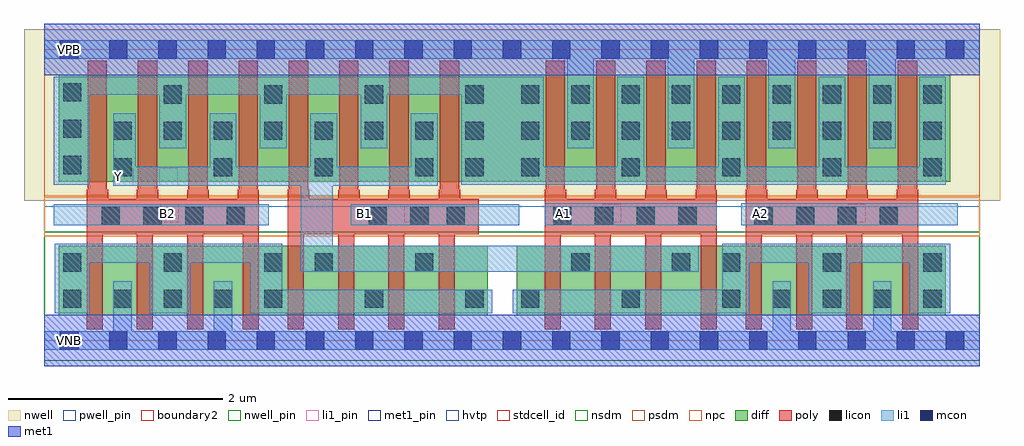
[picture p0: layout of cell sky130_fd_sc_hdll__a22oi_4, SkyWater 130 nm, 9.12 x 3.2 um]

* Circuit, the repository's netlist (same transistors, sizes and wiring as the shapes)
* Copyright 2020 The SkyWater PDK Authors
*
* Licensed under the Apache License, Version 2.0 (the "License");
* you may not use this file except in compliance with the License.
* You may obtain a copy of the License at
*
*     https://www.apache.org/licenses/LICENSE-2.0
*
* Unless required by applicable law or agreed to in writing, software
* distributed under the License is distributed on an "AS IS" BASIS,
* WITHOUT WARRANTIES OR CONDITIONS OF ANY KIND, either express or implied.
* See the License for the specific language governing permissions and
* limitations under the License.
*
* SPDX-License-Identifier: Apache-2.0

.SUBCKT sky130_fd_sc_hdll__a22oi_4 A1 A2 B1 B2 VGND VNB VPB VPWR Y
*.PININFO A1:I A2:I B1:I B2:I VGND:I VNB:I VPB:I VPWR:I Y:O
MMPA0 pndA A1 VPWR VPB sky130_fd_pr__pfet_01v8_hvt m=4 w=1.0U l=0.18U mult=1 sa=0.265
+ sb=0.265 sd=0.28 area=0.063 perim=1.14
MMPA1 pndA A2 VPWR VPB sky130_fd_pr__pfet_01v8_hvt m=4 w=1.0U l=0.18U mult=1 sa=0.265
+ sb=0.265 sd=0.28 area=0.063 perim=1.14
MMPB0 Y B1 pndA VPB sky130_fd_pr__pfet_01v8_hvt m=4 w=1.0U l=0.18U mult=1 sa=0.265
+ sb=0.265 sd=0.28 area=0.063 perim=1.14
MMPB1 Y B2 pndA VPB sky130_fd_pr__pfet_01v8_hvt m=4 w=1.0U l=0.18U mult=1 sa=0.265
+ sb=0.265 sd=0.28 area=0.063 perim=1.14
MMNA0 Y A1 sndA1 VNB sky130_fd_pr__nfet_01v8 m=4 w=0.65U l=0.15U mult=1 sa=0.265
+ sb=0.265 sd=0.28 area=0.063 perim=1.14
MMNA1 sndA1 A2 VGND VNB sky130_fd_pr__nfet_01v8 m=4 w=0.65U l=0.15U mult=1 sa=0.265
+ sb=0.265 sd=0.28 area=0.063 perim=1.14
MMNB0 Y B1 sndB1 VNB sky130_fd_pr__nfet_01v8 m=4 w=0.65U l=0.15U mult=1 sa=0.265
+ sb=0.265 sd=0.28 area=0.063 perim=1.14
MMNB1 sndB1 B2 VGND VNB sky130_fd_pr__nfet_01v8 m=4 w=0.65U l=0.15U mult=1 sa=0.265
+ sb=0.265 sd=0.28 area=0.063 perim=1.14
.ENDS sky130_fd_sc_hdll__a22oi_4

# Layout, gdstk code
import gdstk
lib = gdstk.Library(unit=1e-6, precision=1e-09)
def R(c, l, rs):  # rectangles x0, y0, x1, y1
    for r in rs: c.add(gdstk.rectangle(r[:2], r[2:], *l))
def A(c, l, x, y, w, h, nx, ny, dx, dy):  # array of equal rectangles
    R(c, l, [(x+i*dx, y+j*dy, x+i*dx+w, y+j*dy+h) for i in range(nx) for j in range(ny)])
def P(c, l, *ps):  # polygons
    for p in ps: c.add(gdstk.Polygon(p, *l))
nwell_pin = (64, 16)
nwell = (64, 20)
diff = (65, 20)
poly = (66, 20)
licon = (66, 44)
li1_pin = (67, 16)
li1 = (67, 20)
mcon = (67, 44)
met1_pin = (68, 16)
met1 = (68, 20)
hvtp = (78, 44)
stdcell_id = (81, 4)
nsdm = (93, 44)
psdm = (94, 20)
npc = (95, 20)
pwell_pin = (122, 16)
boundary2 = (236, 0)

sky130_fd_sc_hdll__a22oi = lib.new_cell('sky130_fd_sc_hdll__a22oi_4')
R(sky130_fd_sc_hdll__a22oi, nwell_pin, [(0.15,2.635,0.32,2.805)])
R(sky130_fd_sc_hdll__a22oi, nwell, [(-0.19,1.305,8.93,2.91)])
R(sky130_fd_sc_hdll__a22oi, diff, [(0.135,0.235,4.145,0.885), (4.415,0.235,8.425,0.885), (0.135,1.485,8.465,2.485)])
P(sky130_fd_sc_hdll__a22oi, poly, [(2.005,1.41),(1.995,1.41),(1.995,2.615),(1.815,2.615),(1.815,1.41),(1.805,1.41),(1.805,1.325),(1.535,1.325),(1.535,1.41),(1.525,1.41),(1.525,2.615),(1.345,2.615),(1.345,1.41),(1.335,1.41),(1.335,1.325),(1.065,1.325),(1.065,1.41),(1.055,1.41),(1.055,2.615),(0.875,2.615),(0.875,1.41),(0.865,1.41),(0.865,1.325),(0.595,1.325),(0.595,1.41),(0.585,1.41),(0.585,2.615),(0.405,2.615),(0.405,1.41),(0.395,1.41),(0.395,0.105),(0.545,0.105),(0.545,0.995),(0.865,0.995),(0.865,0.105),(1.015,0.105),(1.015,0.995),(1.335,0.995),(1.335,0.105),(1.485,0.105),(1.485,0.995),(1.855,0.995),(1.855,0.105),(2.005,0.105)],
  [(4.06,1.325),(3.885,1.325),(3.885,1.41),(3.875,1.41),(3.875,2.615),(3.695,2.615),(3.695,1.41),(3.685,1.41),(3.685,1.325),(3.415,1.325),(3.415,1.41),(3.405,1.41),(3.405,2.615),(3.225,2.615),(3.225,1.41),(3.215,1.41),(3.215,1.325),(2.945,1.325),(2.945,1.41),(2.935,1.41),(2.935,2.615),(2.755,2.615),(2.755,1.41),(2.745,1.41),(2.745,1.325),(2.475,1.325),(2.475,1.41),(2.465,1.41),(2.465,2.615),(2.285,2.615),(2.285,1.41),(2.275,1.41),(2.275,0.105),(2.425,0.105),(2.425,0.995),(2.745,0.995),(2.745,0.105),(2.895,0.105),(2.895,0.995),(3.215,0.995),(3.215,0.105),(3.365,0.105),(3.365,0.995),(3.685,0.995),(3.685,0.105),(3.835,0.105),(3.835,0.995),(4.06,0.995)],
  [(6.285,1.41),(6.275,1.41),(6.275,2.615),(6.095,2.615),(6.095,1.41),(6.085,1.41),(6.085,1.325),(5.815,1.325),(5.815,1.41),(5.805,1.41),(5.805,2.615),(5.625,2.615),(5.625,1.41),(5.615,1.41),(5.615,1.325),(5.345,1.325),(5.345,1.41),(5.335,1.41),(5.335,2.615),(5.155,2.615),(5.155,1.41),(5.145,1.41),(5.145,1.325),(4.875,1.325),(4.875,1.41),(4.865,1.41),(4.865,2.615),(4.685,2.615),(4.685,1.41),(4.675,1.41),(4.675,0.105),(4.825,0.105),(4.825,0.995),(5.145,0.995),(5.145,0.105),(5.295,0.105),(5.295,0.995),(5.615,0.995),(5.615,0.105),(5.765,0.105),(5.765,0.995),(6.135,0.995),(6.135,0.105),(6.285,0.105)],
  [(8.165,1.41),(8.155,1.41),(8.155,2.615),(7.975,2.615),(7.975,1.41),(7.965,1.41),(7.965,1.325),(7.695,1.325),(7.695,1.41),(7.685,1.41),(7.685,2.615),(7.505,2.615),(7.505,1.41),(7.495,1.41),(7.495,1.325),(7.225,1.325),(7.225,1.41),(7.215,1.41),(7.215,2.615),(7.035,2.615),(7.035,1.41),(7.025,1.41),(7.025,1.325),(6.755,1.325),(6.755,1.41),(6.745,1.41),(6.745,2.615),(6.565,2.615),(6.565,1.41),(6.555,1.41),(6.555,0.105),(6.705,0.105),(6.705,0.995),(7.025,0.995),(7.025,0.105),(7.175,0.105),(7.175,0.995),(7.495,0.995),(7.495,0.105),(7.645,0.105),(7.645,0.995),(8.015,0.995),(8.015,0.105),(8.165,0.105)])
A(sky130_fd_sc_hdll__a22oi, licon, 0.175, 0.305, 0.17, 0.17, 5, 1, 0.47, 0)
A(sky130_fd_sc_hdll__a22oi, licon, 4.455, 0.305, 0.17, 0.17, 3, 1, 0.94, 0)
A(sky130_fd_sc_hdll__a22oi, licon, 6.805, 0.305, 0.17, 0.17, 4, 1, 0.47, 0)
A(sky130_fd_sc_hdll__a22oi, licon, 0.175, 0.645, 0.17, 0.17, 3, 1, 0.94, 0)
A(sky130_fd_sc_hdll__a22oi, licon, 6.335, 0.645, 0.17, 0.17, 3, 1, 0.94, 0)
A(sky130_fd_sc_hdll__a22oi, licon, 0.535, 1.075, 0.17, 0.17, 4, 1, 0.39, 0)
A(sky130_fd_sc_hdll__a22oi, licon, 4.755, 1.075, 0.17, 0.17, 4, 1, 0.39, 0)
A(sky130_fd_sc_hdll__a22oi, licon, 6.635, 1.075, 0.17, 0.17, 4, 1, 0.39, 0)
A(sky130_fd_sc_hdll__a22oi, licon, 0.645, 1.535, 0.17, 0.17, 4, 1, 0.94, 0)
A(sky130_fd_sc_hdll__a22oi, licon, 4.455, 1.535, 0.17, 0.17, 5, 1, 0.94, 0)
A(sky130_fd_sc_hdll__a22oi, licon, 0.175, 1.555, 0.17, 0.17, 1, 3, 0, 0.34)
A(sky130_fd_sc_hdll__a22oi, licon, 0.645, 1.875, 0.17, 0.17, 8, 1, 0.47, 0)
A(sky130_fd_sc_hdll__a22oi, licon, 4.455, 1.875, 0.17, 0.17, 9, 2, 0.47, 0.34)
A(sky130_fd_sc_hdll__a22oi, licon, 1.115, 2.215, 0.17, 0.17, 4, 1, 0.94, 0)
R(sky130_fd_sc_hdll__a22oi, licon, [(2.995,0.305,3.165,0.475), (3.935,0.305,4.105,0.475), (2.525,0.645,2.695,0.815), (3.465,0.645,3.635,0.815), (4.925,0.645,5.095,0.815), (5.865,0.645,6.035,0.815), (3.03,1.075,3.2,1.245), (3.42,1.075,3.59,1.245), (3.76,1.075,3.93,1.245), (3.935,1.535,4.105,1.705)])
R(sky130_fd_sc_hdll__a22oi, li1_pin, [(1.085,1.105,1.255,1.275), (3.365,1.105,3.535,1.275), (5.22,1.105,5.39,1.275), (7.505,1.105,7.675,1.275), (0.66,1.445,0.83,1.615), (1.075,1.445,1.245,1.615)])
R(sky130_fd_sc_hdll__a22oi, li1, [(0.09,1.075,2.095,1.275), (2.865,1.075,4.44,1.275), (4.675,1.075,6.285,1.285), (6.51,1.075,8.535,1.285)])
P(sky130_fd_sc_hdll__a22oi, li1, [(8.465,0.905),(6.335,0.905),(6.335,0.475),(4.375,0.475),(4.375,0.255),(6.585,0.255),(6.585,0.725),(7.145,0.725),(7.145,0.255),(7.525,0.255),(7.525,0.725),(8.085,0.725),(8.085,0.255),(8.465,0.255)],
  [(8.425,2.465),(8.175,2.465),(8.175,1.625),(7.485,1.625),(7.485,2.465),(7.235,2.465),(7.235,1.625),(6.545,1.625),(6.545,2.465),(6.295,2.465),(6.295,1.625),(5.605,1.625),(5.605,2.465),(5.355,2.465),(5.355,1.625),(4.665,1.625),(4.665,2.465),(0.09,2.465),(0.09,1.455),(0.425,1.455),(0.425,2.295),(1.075,2.295),(1.075,1.795),(1.325,1.795),(1.325,2.295),(2.015,2.295),(2.015,1.795),(2.265,1.795),(2.265,2.295),(2.955,2.295),(2.955,1.795),(3.205,1.795),(3.205,2.295),(3.895,2.295),(3.895,1.455),(8.425,1.455)],
  [(4.185,0.475),(2.225,0.475),(2.225,0.905),(0.095,0.905),(0.095,0.255),(0.425,0.255),(0.425,0.725),(0.985,0.725),(0.985,0.255),(1.365,0.255),(1.365,0.725),(1.925,0.725),(1.925,0.255),(4.185,0.255)],
  [(6.115,0.885),(2.695,0.885),(2.695,1.445),(3.675,1.445),(3.675,2.125),(3.425,2.125),(3.425,1.625),(2.735,1.625),(2.735,2.125),(2.485,2.125),(2.485,1.625),(1.795,1.625),(1.795,2.125),(1.545,2.125),(1.545,1.625),(0.855,1.625),(0.855,2.125),(0.645,2.125),(0.645,1.445),(2.395,1.445),(2.395,0.645),(6.115,0.645)],
  [(8.74,2.805),(0,2.805),(0,2.635),(4.885,2.635),(4.885,1.795),(5.135,1.795),(5.135,2.635),(5.825,2.635),(5.825,1.795),(6.075,1.795),(6.075,2.635),(6.765,2.635),(6.765,1.795),(7.015,1.795),(7.015,2.635),(7.705,2.635),(7.705,1.795),(7.955,1.795),(7.955,2.635),(8.74,2.635)],
  [(8.74,0.085),(7.915,0.085),(7.915,0.555),(7.745,0.555),(7.745,0.085),(6.975,0.085),(6.975,0.555),(6.805,0.555),(6.805,0.085),(1.755,0.085),(1.755,0.555),(1.585,0.555),(1.585,0.085),(0.815,0.085),(0.815,0.555),(0.645,0.555),(0.645,0.085),(0,0.085),(0,-0.085),(8.74,-0.085)])
A(sky130_fd_sc_hdll__a22oi, mcon, 0.145, -0.085, 0.17, 0.17, 19, 2, 0.46, 2.72)
R(sky130_fd_sc_hdll__a22oi, met1_pin, [(0.15,-0.085,0.32,0.085), (0.15,2.635,0.32,2.805)])
R(sky130_fd_sc_hdll__a22oi, met1, [(0,-0.24,8.74,0.24), (0,2.48,8.74,2.96)])
R(sky130_fd_sc_hdll__a22oi, hvtp, [(0,1.25,8.74,2.72)])
R(sky130_fd_sc_hdll__a22oi, stdcell_id, [(0,0,8.74,2.72)])
R(sky130_fd_sc_hdll__a22oi, nsdm, [(0,-0.19,8.74,1.015)])
R(sky130_fd_sc_hdll__a22oi, psdm, [(0,1.355,8.74,2.91)])
R(sky130_fd_sc_hdll__a22oi, npc, [(0,0.975,8.74,1.345)])
R(sky130_fd_sc_hdll__a22oi, pwell_pin, [(0.15,-0.085,0.32,0.085)])
R(sky130_fd_sc_hdll__a22oi, boundary2, [(0,0,8.74,2.72)])
sky130_fd_sc_hdll__a22oi.add(gdstk.Label('A2', (6.695,1.19), layer=67, texttype=5))
sky130_fd_sc_hdll__a22oi.add(gdstk.Label('B2', (1.155,1.19), layer=67, texttype=5))
sky130_fd_sc_hdll__a22oi.add(gdstk.Label('A1', (4.855,1.19), layer=67, texttype=5))
sky130_fd_sc_hdll__a22oi.add(gdstk.Label('B1', (2.995,1.19), layer=67, texttype=5))
sky130_fd_sc_hdll__a22oi.add(gdstk.Label('Y', (0.695,1.53), layer=67, texttype=5))
sky130_fd_sc_hdll__a22oi.add(gdstk.Label('VNB', (0.235,0), layer=64, texttype=59))
sky130_fd_sc_hdll__a22oi.add(gdstk.Label('VPB', (0.235,2.72), layer=64, texttype=5))
sky130_fd_sc_hdll__a22oi.add(gdstk.Label('VGND', (0.23,0), layer=68, texttype=5))
sky130_fd_sc_hdll__a22oi.add(gdstk.Label('VPWR', (0.235,2.72), layer=68, texttype=5))

lib.write_gds('sky130_fd_sc_hdll__a22oi_4.gds')
